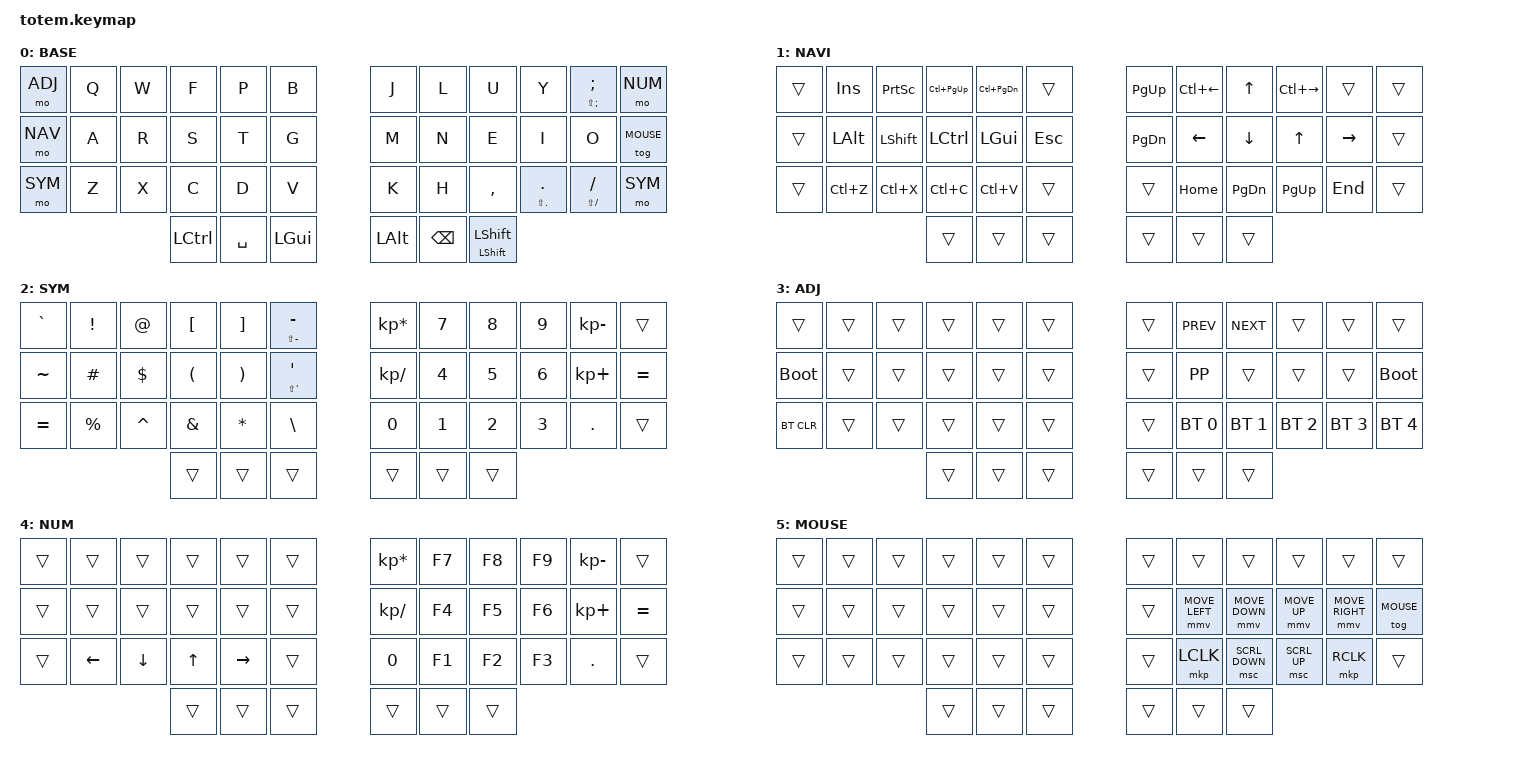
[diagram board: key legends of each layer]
//
//                                                        ▀▀▀▀▀     ▀▀▀▀▀          ▀▀█▀▀
//                                                        ▄▀▀▀▄  ▄  ▄▀▀▀▄  ▄  ▄▀▀▀▄  █  ▄▀▀▀▄
//                                                        █   █  █  █   █  █  █   █  █  █   █
//                                                         ▀▀▀   █   ▀▀▀   █   ▀▀▀   ▀   ▀▀▀
//                                                               █      ▄▄▄█▄▄▄    █   █  
//                                                               ▀      █  █  █     █▄█
//                                                             ▀▀▀▀▀    █  █  █      ▀
//                                                                      ▀  ▀  ▀
//
// ▄▄▄▄▄▄▄▄▄▄▄▄▄▄▄▄▄▄▄▄▄▄▄▄▄▄▄▄▄▄▄▄▄▄▄▄▄▄▄▄▄▄▄▄▄▄▄▄▄▄▄▄▄▄▄▄▄▄▄▄▄▄▄▄▄▄▄▄▄▄▄▄▄▄▄▄▄▄▄▄▄▄▄▄▄▄▄▄▄▄▄▄▄▄▄▄▄▄▄▄▄▄▄▄▄▄▄▄▄▄▄▄▄▄▄▄▄▄▄▄▄▄▄▄▄▄▄▄▄▄▄▄▄▄▄▄▄▄▄▄▄▄▄▄▄▄▄▄▄
       

#include <behaviors.dtsi>
#include <dt-bindings/zmk/keys.h>
#include <dt-bindings/zmk/bt.h>
#include <dt-bindings/zmk/outputs.h>
#include <dt-bindings/zmk/pointing.h>


#define BASE 0
#define NAV  1
#define SYM  2
#define ADJ  3
#define NUM  4
#define MOUSE 5

&mt {
  quick-tap-ms = <100>;
  global-quick-tap;
  flavor = "tap-preferred";
  tapping-term-ms = <170>;
};

/ {
    
    /* conditional_layers {
        compatible = "zmk,conditional-layers";

        adjust_layer {
            if-layers = <NAV SYM>;
            then-layer = <ADJ>;
        };
    }; */
      behaviors {
          skshift_left: skshift_left {
              compatible = "zmk,behavior-hold-tap";
              label = "STICKY_SHIFT_LEFT";
              #binding-cells = <2>;
              flavor = "tap-preferred";
              tapping-term-ms = <200>;
              quick-tap-ms = <125>;
              bindings = <&kp>, <&sk>;
};
as: auto_shift {
      compatible = "zmk,behavior-hold-tap";
      label = "AUTO_SHIFT";
      #binding-cells = <2>;
      tapping-term-ms = <200>;
      quick-tap-ms = <0>;
      flavor = "tap-preferred";
      bindings = <&kp>, <&kp>;

          };
     }; 

    combos {
            compatible = "zmk,combos";
            combo_esc {
                timeout-ms = <50>;
                key-positions = <0 1>;
                bindings = <&kp ESC>;
            };

            combo_delete {
                timeout-ms = <50>;
                key-positions = <34 35>;
                bindings = <&kp DEL>;
            };

            combo_enter {
                timeout-ms = <50>;
                key-positions = <19 20 21>;
                bindings = <&kp RET>;
           };

           combo_tab {
               timeout-ms = <50>;
               key-positions = <31 32 33>;
               bindings = <&kp TAB>;
          };
    };

    macros {
        gif: gif {
            label = "giphy";
            compatible = "zmk,behavior-macro";
            #binding-cells = <0>;
            bindings
                = <&macro_press &kp LSHFT>
                , <&macro_tap &kp N2>
                , <&macro_release &kp LSHFT>
                , <&macro_tap &kp G &kp I &kp F>
                ;
        };
    };

        keymap {
                compatible = "zmk,keymap";
// ▄▄▄▄▄▄▄▄▄▄▄▄▄▄▄▄▄▄▄▄▄▄▄▄▄▄▄▄▄▄▄▄▄▄▄▄▄▄▄▄▄▄▄▄▄▄▄▄▄▄▄▄▄▄▄▄▄▄▄▄▄▄▄▄▄▄▄▄▄▄▄▄▄▄▄▄▄▄▄▄▄▄▄▄▄▄▄▄▄▄▄▄▄▄▄▄▄▄▄▄▄▄▄▄▄▄▄▄▄▄▄▄▄▄▄▄▄▄▄▄▄▄▄▄▄▄▄▄▄▄▄▄▄▄▄▄▄▄▄▄▄▄▄▄▄▄▄▄▄

                base_layer {
// ┏━━━━━━━━━━━━━━━━━━━━━━━━━━━━━━━━━━━━━━━┓
label= "BASE"                              ;
// ┗━━━━━━━━━━━━━━━━━━━━━━━━━━━━━━━━━━━━━━━┛

 bindings = <
// ╷           ╷           ╷           ╷           ╷           ╷           ╷   ╷           ╷           ╷           ╷           ╷           ╷           ╷

&mo ADJ     &kp Q      &kp W   &kp F     &kp P     &kp B   &kp J      &kp L            &kp U         &kp Y           &as LS(SEMI) SEMI           &mo NUM
&mo NAV     &kp A      &kp R   &kp S     &kp T     &kp G   &kp M           &kp N      &kp E         &kp I           &kp O              &tog MOUSE
&mo SYM     &kp Z      &kp X       &kp C       &kp D        &kp V          &kp K      &kp H         &kp COMMA     &as LS(DOT) DOT    &as LS(FSLH) FSLH    &mo SYM
                                         &kp LCTRL  &kp SPACE  &kp LEFT_GUI  &kp LALT       &kp BSPC     &skshift_left LSHIFT LSHIFT
                        >;
                };

// ▄▄▄▄▄▄▄▄▄▄▄▄▄▄▄▄▄▄▄▄▄▄▄▄▄▄▄▄▄▄▄▄▄▄▄▄▄▄▄▄▄▄▄▄▄▄▄▄▄▄▄▄▄▄▄▄▄▄▄▄▄▄▄▄▄▄▄▄▄▄▄▄▄▄▄▄▄▄▄▄▄▄▄▄▄▄▄▄▄▄▄▄▄▄▄▄▄▄▄▄▄▄▄▄▄▄▄▄▄▄▄▄▄▄▄▄▄▄▄▄▄▄▄▄▄▄▄▄▄▄▄▄▄▄▄▄▄▄▄▄▄▄▄▄▄▄▄▄▄


                nav_layer {
// ┏━━━━━━━━━━━━━━━━━━━━━━━━━━━━━━━━━━━━━━━┓
label= "NAVI"                              ;
// ┗━━━━━━━━━━━━━━━━━━━━━━━━━━━━━━━━━━━━━━━┛

 bindings = <
// ╷           ╷           ╷           ╷           ╷           ╷           ╷   ╷           ╷           ╷           ╷           ╷           ╷           ╷
&trans  &kp INS    &kp PSCRN  &kp LC(PG_UP)  &kp LC(PG_DN)  &trans   &kp PG_UP  &kp LC(LEFT_ARROW)  &kp UP     &kp LC(RIGHT_ARROW)  &trans     &trans
&trans         &kp LALT      &kp LSHIFT    &kp LCTRL  &kp LGUI    &kp ESC  &kp PG_DN       &kp LEFT   &kp DOWN     &kp UP       &kp RIGHT   &trans
&trans         &kp LC(Z)     &kp LC(X)  &kp LC(C)      &kp LC(V)      &trans   &trans     &kp HOME            &kp PG_DN    &kp PG_UP               &kp END     &trans
                              &trans         &trans         &trans   &trans    &trans              &trans     
                        >;
                };

// ▄▄▄▄▄▄▄▄▄▄▄▄▄▄▄▄▄▄▄▄▄▄▄▄▄▄▄▄▄▄▄▄▄▄▄▄▄▄▄▄▄▄▄▄▄▄▄▄▄▄▄▄▄▄▄▄▄▄▄▄▄▄▄▄▄▄▄▄▄▄▄▄▄▄▄▄▄▄▄▄▄▄▄▄▄▄▄▄▄▄▄▄▄▄▄▄▄▄▄▄▄▄▄▄▄▄▄▄▄▄▄▄▄▄▄▄▄▄▄▄▄▄▄▄▄▄▄▄▄▄▄▄▄▄▄▄▄▄▄▄▄▄▄▄▄▄▄▄▄


                sim_layer {
// ┏━━━━━━━━━━━━━━━━━━━━━━━━━━━━━━━━━━━━━━━┓
label= "SYM"                               ;
// ┗━━━━━━━━━━━━━━━━━━━━━━━━━━━━━━━━━━━━━━━┛

 bindings = <
// ╷           ╷           ╷           ╷           ╷           ╷           ╷   ╷           ╷           ╷           ╷           ╷           ╷           ╷

&kp GRAVE  &kp EXCL  &kp AT   &kp LBKT  &kp RBKT   &as LS(MINUS) MINUS    &kp KP_MULTIPLY  &kp N7  &kp N8  &kp N9  &kp KP_MINUS   &trans
&kp TILDE   &kp HASH   &kp DLLR  &kp LPAR  &kp RPAR     &as LS(SQT) SQT  &kp KP_DIVIDE    &kp N4  &kp N5  &kp N6  &kp KP_PLUS    &kp EQUAL
&kp EQUAL  &kp PRCNT     &kp CARET    &kp AMPS     &kp STAR     &kp BSLH   &kp N0           &kp N1  &kp N2  &kp N3  &kp DOT     &trans
                             &trans     &trans     &trans    &trans        &trans     &trans       
                        >;
                };

// ▄▄▄▄▄▄▄▄▄▄▄▄▄▄▄▄▄▄▄▄▄▄▄▄▄▄▄▄▄▄▄▄▄▄▄▄▄▄▄▄▄▄▄▄▄▄▄▄▄▄▄▄▄▄▄▄▄▄▄▄▄▄▄▄▄▄▄▄▄▄▄▄▄▄▄▄▄▄▄▄▄▄▄▄▄▄▄▄▄▄▄▄▄▄▄▄▄▄▄▄▄▄▄▄▄▄▄▄▄▄▄▄▄▄▄▄▄▄▄▄▄▄▄▄▄▄▄▄▄▄▄▄▄▄▄▄▄▄▄▄▄▄▄▄▄▄▄▄▄


                adjust_layer {
// ┏━━━━━━━━━━━━━━━━━━━━━━━━━━━━━━━━━━━━━━━┓
label= "ADJ"                               ;
// ┗━━━━━━━━━━━━━━━━━━━━━━━━━━━━━━━━━━━━━━━┛

 bindings = <
// ╷           ╷           ╷           ╷           ╷           ╷           ╷   ╷           ╷           ╷           ╷           ╷           ╷           ╷
&trans         &trans      &trans      &trans      &trans      &trans      &trans  &kp K_PREV  &kp K_NEXT          &trans  &trans         &trans
&bootloader        &trans             &trans             &trans        &trans        &trans        &trans  &kp K_PP    &trans              &trans  &trans         &bootloader
&bt BT_CLR         &trans             &trans             &trans        &trans        &trans        &trans   &bt BT_SEL 0   &bt BT_SEL 1  &bt BT_SEL 2  &bt BT_SEL 3  &bt BT_SEL 4
                   &trans             &trans             &trans        &trans        &trans        &trans
                        >;
                };

// ▄▄▄▄▄▄▄▄▄▄▄▄▄▄▄▄▄▄▄▄▄▄▄▄▄▄▄▄▄▄▄▄▄▄▄▄▄▄▄▄▄▄▄▄▄▄▄▄▄▄▄▄▄▄▄▄▄▄▄▄▄▄▄▄▄▄▄▄▄▄▄▄▄▄▄▄▄▄▄▄▄▄▄▄▄▄▄▄▄▄▄▄▄▄▄▄▄▄▄▄▄▄▄▄▄▄▄▄▄▄▄▄▄▄▄▄▄▄▄▄▄▄▄▄▄▄▄▄▄▄▄▄▄▄▄▄▄▄▄▄▄▄▄▄▄▄▄▄▄

                numpad_layer {
// ┏━━━━━━━━━━━━━━━━━━━━━━━━━━━━━━━━━━━━━━━┓
label= "NUM"                               ;
// ┗━━━━━━━━━━━━━━━━━━━━━━━━━━━━━━━━━━━━━━━┛

 bindings = <
// ╷           ╷           ╷           ╷           ╷           ╷           ╷   ╷           ╷           ╷           ╷           ╷           ╷           ╷
&trans  &trans     &trans     &trans     &trans     &trans      &kp KP_MULTIPLY  &kp F7  &kp F8  &kp F9  &kp KP_MINUS   &trans
&trans  &trans     &trans     &trans     &trans     &trans      &kp KP_DIVIDE    &kp F4  &kp F5  &kp F6  &kp KP_PLUS    &kp EQUAL
&trans  &kp LEFT    &kp DOWN   &kp UP   &kp RIGHT   &trans        &kp N0           &kp F1  &kp F2  &kp F3  &kp DOT     &trans
                              &trans     &trans     &trans      &trans           &trans  &trans
                        >;
                };
// ▄▄▄▄▄▄▄▄▄▄▄▄▄▄▄▄▄▄▄▄▄▄▄▄▄▄▄▄▄▄▄▄▄▄▄▄▄▄▄▄▄▄▄▄▄▄▄▄▄▄▄▄▄▄▄▄▄▄▄▄▄▄▄▄▄▄▄▄▄▄▄▄▄▄▄▄▄▄▄▄▄▄▄▄▄▄▄▄▄▄▄▄▄▄▄▄▄▄▄▄▄▄▄▄▄▄▄▄▄▄▄▄▄▄▄▄▄▄▄▄▄▄▄▄▄▄▄▄▄▄▄▄▄▄▄▄▄▄▄▄▄▄▄▄▄▄▄▄▄

                  mouse_layer {
  // ┏━━━━━━━━━━━━━━━━━━━━━━━━━━━━━━━━━━━━━━━┓
  label= "MOUSE"                             ;
  // ┗━━━━━━━━━━━━━━━━━━━━━━━━━━━━━━━━━━━━━━━┛

   bindings = <
  // ╷           ╷           ╷           ╷           ╷           ╷           ╷ ╷           ╷           ╷           ╷           ╷           ╷           ╷
  &trans          &trans     &trans     &trans     &trans     &trans      &trans          &trans      &trans          &trans      &trans     &trans
  &trans          &trans     &trans     &trans     &trans     &trans      &trans          &mmv MOVE_LEFT  &mmv MOVE_DOWN  &mmv MOVE_UP  &mmv MOVE_RIGHT     &tog MOUSE
  &trans          &trans     &trans     &trans     &trans     &trans      &trans          &mkp LCLK   &msc SCRL_DOWN      &msc SCRL_UP      &mkp RCLK    &trans
                                &trans     &trans     &trans      &trans       &trans     &trans 
                          >;
                  };


};
};
